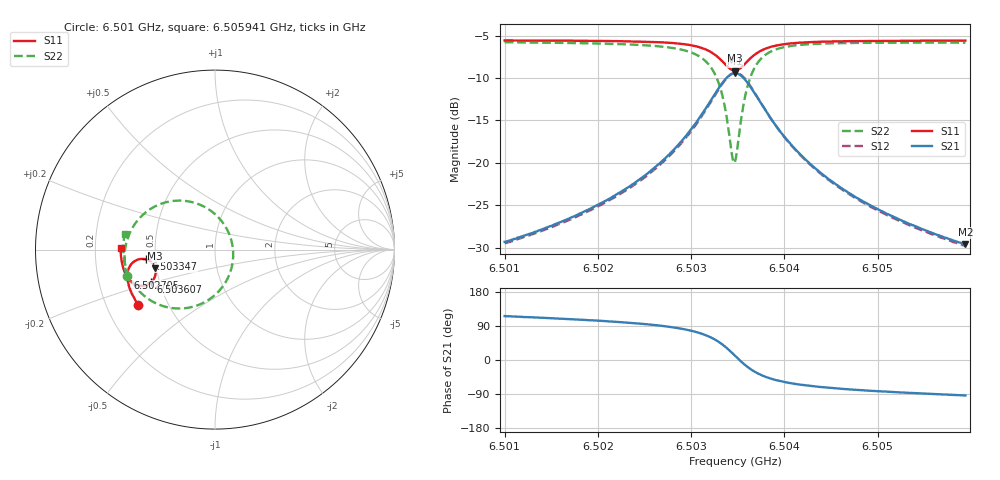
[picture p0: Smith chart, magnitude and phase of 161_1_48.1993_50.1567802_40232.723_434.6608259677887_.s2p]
#  HZ  S  RI  R  50.00
! Rohde & Schwarz Vector Network Analyzer
! Rohde-Schwarz,ZNB20-2Port,1311601062101988,3.16
! Created: UTC 3/20/2024, 11:43:13 AM
! freq[Hz]  re:S11  im:S11  re:S21  im:S21  re:S12  im:S12  re:S22  im:S22
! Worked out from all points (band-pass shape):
!   401 points, 6.501 GHz to 6.505941 GHz, reference 50 ohm
!   highest |S21| = -9.44 dB at 6.503471 GHz (marker M1); lowest = -29.6 dB at 6.505941 GHz (marker M2)
!   |S21| within 3 dB of the highest: 6.503223 GHz to 6.503718 GHz (495.4 kHz wide, 0.00762 % of centre)
!   lowest |S11| = -9.1 dB at 6.503471 GHz (marker M3), VSWR 2.07, Z = 24.5 - j5.85 ohm
!   |S11| at or under -10 dB: nowhere
!   |S22| runs from -20.0 to -5.8 dB; largest |S21 - S12| = 0.012
!   S11 on the Smith chart (normalised r, x): 6.501 GHz: 0.34, -0.29; 6.502705 GHz: 0.33, -0.14; 6.503347 GHz: 0.44, -0.06; 6.503607 GHz: 0.45, -0.19; 6.505941 GHz: 0.31, +0.01
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6.5010004e9  -0.4285 -0.3059  -0.015 0.0308  -0.0131 0.0309  -0.4917 -0.149
6.501828e9  -0.4638 -0.2443  -0.0141 0.0489  -0.0117 0.0483  -0.5038 -0.0599
6.5023098e9  -0.4803 -0.2009  -0.0107 0.0701  -0.00762 0.0688  -0.4995 0.0103
6.5026556e9  -0.4881 -0.1618  -0.00166 0.0985  0.00189 0.0961  -0.4797 0.0816
6.502705e9  -0.4885 -0.1553  0.000713 0.1043  0.00458 0.1016  -0.4741 0.0945
6.5029397e9  -0.4852 -0.1185  0.0235 0.1411  0.0272 0.1368  -0.4265 0.1686
6.5031003e9  -0.4707 -0.0863  0.0627 0.177  0.0656 0.171  -0.3501 0.232
6.5032485e9  -0.4331 -0.0568  0.1444 0.2056  0.1451 0.1992  -0.2014 0.2729
6.5033474e9  -0.3868 -0.054  0.2354 0.189  0.2355 0.1841  -0.0436 0.2298
6.5034338e9  -0.3443 -0.0827  0.3134 0.1146  0.3156 0.1101  0.0806 0.0832
6.5034585e9  -0.3364 -0.097  0.3265 0.083  0.3296 0.0777  0.0973 0.0232
6.5034709e9  -0.3335 -0.1047  0.3306 0.0662  0.3342 0.0604  0.101 -0.00796
6.5034956e9  -0.3306 -0.1209  0.3342 0.0315  0.3378 0.0246  0.0985 -0.0712
6.5035326e9  -0.3328 -0.1447  0.3268 -0.0183  0.33 -0.0275  0.071 -0.1597
6.5036068e9  -0.3549 -0.1814  0.2805 -0.0943  0.28 -0.1058  -0.0387 -0.2819
6.5037179e9  -0.4003 -0.2013  0.1939 -0.1394  0.1884 -0.1492  -0.214 -0.3279
6.5038785e9  -0.4472 -0.1917  0.1104 -0.1357  0.1033 -0.1407  -0.3644 -0.2796
6.5040514e9  -0.4749 -0.1704  0.065 -0.1148  0.0586 -0.1172  -0.4378 -0.2131
6.5042985e9  -0.4959 -0.1404  0.0345 -0.0899  0.0296 -0.0904  -0.4817 -0.1397
6.5046691e9  -0.5114 -0.1014  0.0151 -0.0661  0.0118 -0.0656  -0.5045 -0.0643
6.5051261e9  -0.5209 -0.0588  0.00518 -0.0491  0.00284 -0.0483  -0.5107 0.00166
6.5059414e9  -0.5261 0.0104  -0.00205 -0.033  -0.00334 -0.0321  -0.5029 0.0891
